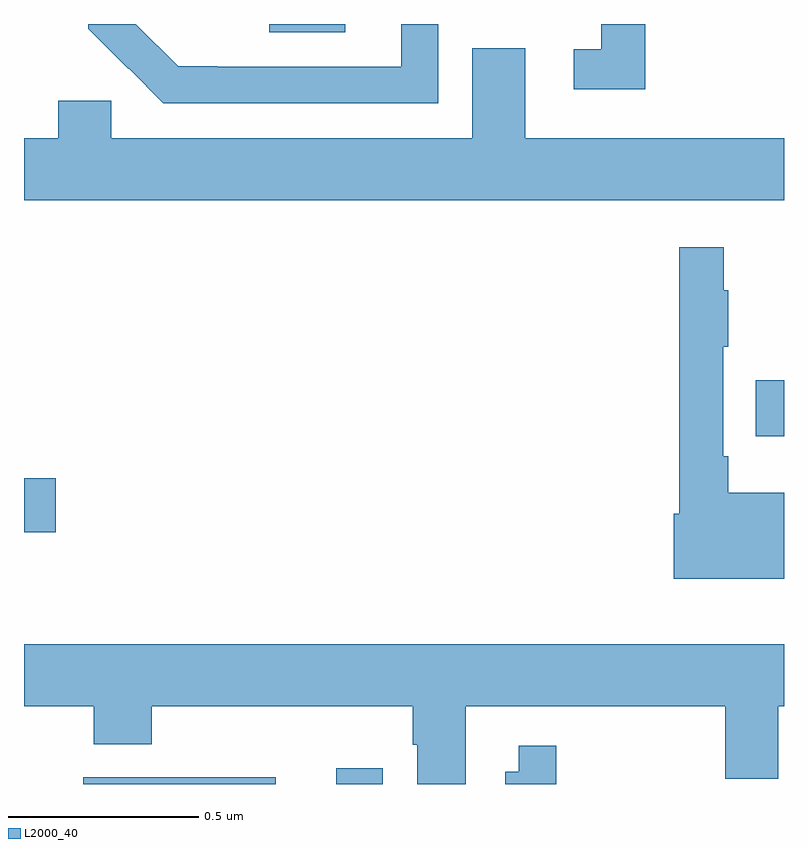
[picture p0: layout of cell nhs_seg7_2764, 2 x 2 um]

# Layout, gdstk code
import gdstk
lib = gdstk.Library(unit=1e-6, precision=1e-09)
def R(c, l, rs):  # rectangles x0, y0, x1, y1
    for r in rs: c.add(gdstk.rectangle(r[:2], r[2:], *l))
def P(c, l, *ps):  # polygons
    for p in ps: c.add(gdstk.Polygon(p, *l))
L2000_40 = (2000, 40)

nhs_seg7_2764 = lib.new_cell('nhs_seg7_2764')
R(nhs_seg7_2764, L2000_40, [(149.156,1079,149.662,1079.018), (149.822,1079,149.944,1079.041), (149,1079.662,149.083,1079.804), (150.925,1079.915,151,1080.063), (149.646,1080.978,149.845,1081)])
P(nhs_seg7_2764, L2000_40, [(150.09,1081),(149.993,1081),(149.993,1080.888),(149.509,1080.888),(149.509,1080.889),(149.406,1080.889),(149.294,1081),(149.169,1081),(149.169,1080.987),(149.274,1080.882),(149.275,1080.883),(149.366,1080.792),(150.09,1080.792)],
  [(150.635,1081),(150.519,1081),(150.519,1080.933),(150.447,1080.933),(150.447,1080.828),(150.635,1080.828)],
  [(151,1080.7),(150.319,1080.7),(150.319,1080.936),(150.179,1080.936),(150.179,1080.7),(149.229,1080.7),(149.229,1080.798),(149.09,1080.798),(149.09,1080.7),(149,1080.7),(149,1080.536),(151,1080.536)],
  [(151,1079.767),(150.853,1079.767),(150.853,1079.863),(150.84,1079.863),(150.84,1080.151),(150.853,1080.151),(150.853,1080.299),(150.842,1080.299),(150.842,1080.412),(150.724,1080.412),(150.724,1079.711),(150.71,1079.711),(150.71,1079.54),(151,1079.54)],
  [(150.163,1079.204),(150.846,1079.204),(150.846,1079.014),(150.985,1079.014),(150.985,1079.204),(151,1079.204),(151,1079.368),(149,1079.368),(149,1079.204),(149.183,1079.204),(149.183,1079.105),(149.336,1079.105),(149.336,1079.204),(150.023,1079.204),(150.023,1079.103),(150.035,1079.103),(150.035,1079),(150.163,1079)],
  [(150.4,1079.101),(150.302,1079.101),(150.302,1079.032),(150.266,1079.032),(150.266,1079),(150.4,1079)])

lib.write_gds('nhs_seg7_2764.gds')
